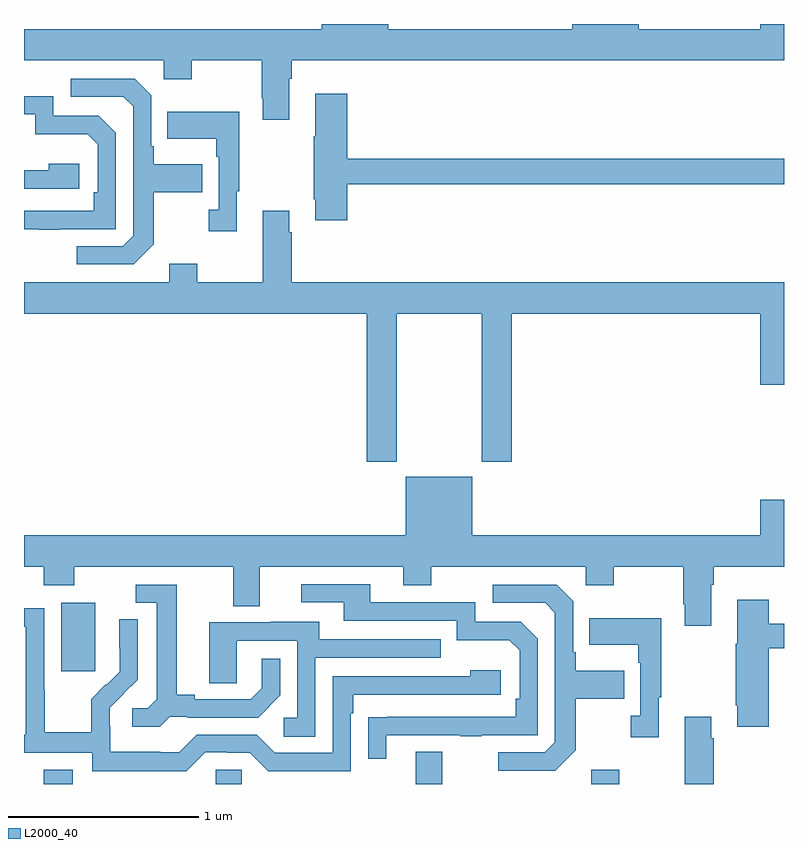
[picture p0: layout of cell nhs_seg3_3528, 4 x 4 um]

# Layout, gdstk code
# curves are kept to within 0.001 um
import gdstk
lib = gdstk.Library(unit=1e-6, precision=1e-09)
def R(c, l, rs):  # rectangles x0, y0, x1, y1
    for r in rs: c.add(gdstk.rectangle(r[:2], r[2:], *l))
def P(c, l, *ps):  # polygons
    for p in ps: c.add(gdstk.Polygon(p, *l))
L2000_40 = (2000, 40)

nhs_seg3_3528 = lib.new_cell('nhs_seg3_3528')
R(nhs_seg3_3528, L2000_40, [(293.105,738.4,293.257,738.475), (294.009,738.4,294.147,738.474), (295.061,738.4,295.201,738.571), (295.985,738.4,296.133,738.475), (293.195,738.993,293.374,739.354)])
P(nhs_seg3_3528, L2000_40, [(294.397,742.112),(294.41,742.112),(294.41,742.208),(297,742.208),(297,742.4),(296.876,742.4),(296.876,742.372),(296.236,742.372),(296.236,742.4),(295.886,742.4),(295.886,742.372),(294.916,742.372),(294.916,742.4),(294.566,742.4),(294.566,742.372),(293,742.372),(293,742.208),(293.736,742.208),(293.736,742.109),(293.883,742.109),(293.883,742.208),(294.25,742.208),(294.25,742.009),(294.257,742.009),(294.257,741.897),(294.397,741.897)],
  [(293.683,741.241),(293.683,741.514),(293.939,741.514),(293.939,741.661),(293.683,741.661),(293.683,741.757),(293.67,741.757),(293.67,742.026),(293.583,742.113),(293.247,742.113),(293.247,742.017),(293.523,742.017),(293.574,741.966),(293.574,741.285),(293.52,741.231),(293.277,741.231),(293.277,741.135),(293.577,741.135)],
  [(294.701,741.556),(297,741.556),(297,741.692),(294.701,741.692),(294.701,742.033),(294.533,742.033),(294.533,741.809),(294.526,741.809),(294.526,741.478),(294.533,741.478),(294.533,741.366),(294.701,741.366)],
  [(293.189,741.321),(293.484,741.321),(293.484,741.828),(293.394,741.918),(293.154,741.918),(293.154,742.02),(293,742.02),(293,741.924),(293.058,741.924),(293.058,741.821),(293.335,741.821),(293.388,741.768),(293.388,741.514),(293.368,741.514),(293.368,741.417),(293,741.417),(293,741.321),(293.077,741.321),(293.077,741.316),(293.189,741.316)],
  [(294.121,741.521),(294.133,741.521),(294.133,741.937),(293.755,741.937),(293.755,741.797),(294.012,741.797),(294.012,741.701),(294.024,741.701),(294.024,741.422),(293.973,741.422),(293.973,741.309),(294.121,741.309)],
  [(293.29,741.664),(293.129,741.664),(293.129,741.63),(293,741.63),(293,741.534),(293.29,741.534)],
  [(294.803,740.097),(294.963,740.097),(294.963,740.876),(295.408,740.876),(295.408,740.097),(295.568,740.097),(295.568,740.876),(296.876,740.876),(296.876,740.502),(297,740.502),(297,741.04),(294.41,741.04),(294.41,741.305),(294.397,741.305),(294.397,741.418),(294.257,741.418),(294.257,741.04),(293.913,741.04),(293.913,741.139),(293.765,741.139),(293.765,741.04),(293,741.04),(293,740.876),(294.803,740.876)],
  [(296.617,739.448),(296.63,739.448),(296.63,739.544),(297,739.544),(297,739.897),(296.876,739.897),(296.876,739.708),(295.36,739.708),(295.36,740.017),(295.01,740.017),(295.01,739.708),(293,739.708),(293,739.544),(293.105,739.544),(293.105,739.445),(293.265,739.445),(293.265,739.544),(294.101,739.544),(294.101,739.336),(294.241,739.336),(294.241,739.544),(294.995,739.544),(294.995,739.445),(295.143,739.445),(295.143,739.544),(295.956,739.544),(295.956,739.445),(296.103,739.445),(296.103,739.544),(296.47,739.544),(296.47,739.345),(296.477,739.345),(296.477,739.233),(296.617,739.233)],
  [(294.907,738.657),(295.297,738.657),(295.297,738.652),(295.409,738.652),(295.409,738.657),(295.704,738.657),(295.704,739.164),(295.614,739.254),(295.374,739.254),(295.374,739.356),(294.823,739.356),(294.823,739.452),(294.459,739.452),(294.459,739.356),(294.683,739.356),(294.683,739.26),(295.278,739.26),(295.278,739.157),(295.555,739.157),(295.608,739.104),(295.608,738.85),(295.588,738.85),(295.588,738.753),(294.811,738.752),(294.811,738.534),(294.907,738.534)],
  [(295.903,738.577),(295.903,738.85),(296.159,738.85),(296.159,738.997),(295.903,738.997),(295.903,739.093),(295.89,739.093),(295.89,739.362),(295.803,739.449),(295.467,739.449),(295.467,739.353),(295.743,739.353),(295.794,739.302),(295.794,738.621),(295.74,738.567),(295.497,738.567),(295.497,738.471),(295.797,738.471)],
  [(293.766,738.753),(293.86,738.753),(293.86,738.75),(294.232,738.75),(294.348,738.866),(294.348,739.06),(294.251,739.06),(294.251,738.903),(294.194,738.846),(293.899,738.846),(293.899,738.869),(293.803,738.869),(293.803,739.449),(293.589,739.449),(293.589,739.353),(293.699,739.353),(293.699,738.845),(293.652,738.798),(293.571,738.798),(293.571,738.701),(293.714,738.701)],
  [(296.921,739.114),(297,739.114),(297,739.243),(296.921,739.243),(296.921,739.369),(296.753,739.369),(296.753,739.137),(296.746,739.137),(296.746,738.814),(296.753,738.814),(296.753,738.702),(296.921,738.702)],
  [(293.955,738.567),(294.071,738.567),(294.071,738.564),(294.189,738.564),(294.285,738.468),(294.72,738.468),(294.72,738.773),(294.733,738.773),(294.733,738.87),(295.51,738.87),(295.51,739),(295.349,739),(295.349,738.966),(294.624,738.966),(294.624,738.564),(294.321,738.564),(294.225,738.66),(293.91,738.66),(293.817,738.567),(293.717,738.567),(293.717,738.571),(293.454,738.571),(293.454,738.705),(293.452,738.705),(293.452,738.802),(293.598,738.95),(293.598,739.268),(293.502,739.268),(293.502,739.114),(293.504,739.114),(293.504,738.992),(293.433,738.921),(293.43,738.924),(293.353,738.847),(293.353,738.673),(293.109,738.673),(293.109,738.896),(293.106,738.896),(293.106,739.326),(293,739.326),(293,739.227),(293.01,739.227),(293.01,738.66),(293,738.66),(293,738.564),(293.358,738.564),(293.358,738.467),(293.855,738.467)],
  [(296.341,738.857),(296.353,738.857),(296.353,739.273),(295.975,739.273),(295.975,739.133),(296.232,739.133),(296.232,739.037),(296.244,739.037),(296.244,738.758),(296.193,738.758),(296.193,738.645),(296.341,738.645)],
  [(294.534,739.065),(295.193,739.065),(295.193,739.161),(294.553,739.161),(294.553,739.255),(294.299,739.255),(294.299,739.251),(293.975,739.251),(293.975,738.931),(294.12,738.931),(294.12,739.155),(294.438,739.155),(294.438,738.75),(294.366,738.75),(294.366,738.649),(294.534,738.649)],
  [(296.63,738.641),(296.617,738.641),(296.617,738.754),(296.477,738.754),(296.477,738.4),(296.63,738.4)])

lib.write_gds('nhs_seg3_3528.gds')
